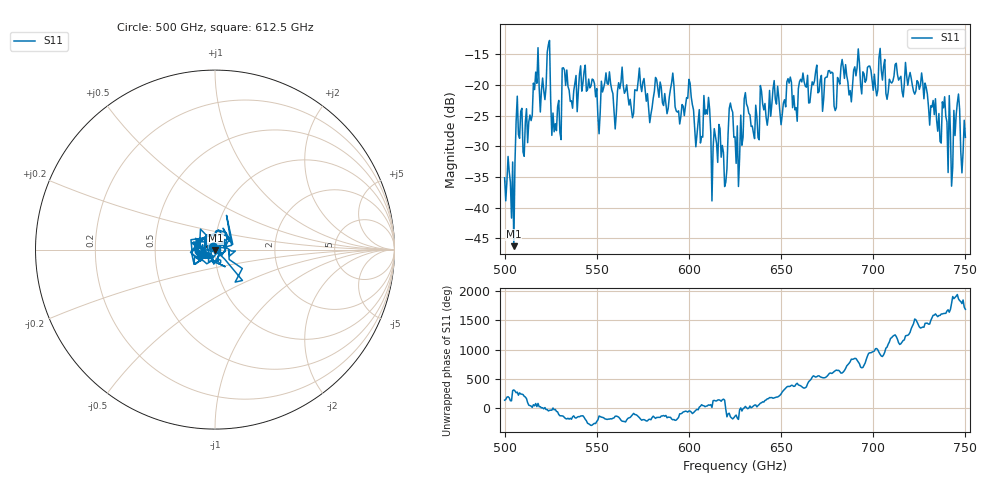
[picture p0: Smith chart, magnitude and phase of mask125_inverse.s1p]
!Created with skrf (http://scikit-rf.org).
# GHz S MA R 50.0
!freq magS11 angS11
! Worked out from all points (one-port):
!   401 points, 500 GHz to 750 GHz, reference 50 ohm
!   lowest |S11| = -46.3 dB at 505 GHz (marker M1), VSWR 1.01, Z = 50.3 - j0.407 ohm
!   |S11| at or under -10 dB: start of sweep to end of sweep
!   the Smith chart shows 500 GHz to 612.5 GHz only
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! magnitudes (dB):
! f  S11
! 500 GHz  -35.1
! 505 GHz  -46.3
! 507.5 GHz  -28.1
! 511.2 GHz  -26.0
! 516.9 GHz  -17.9
! 520.6 GHz  -18.9
! 523.8 GHz  -13.4
! 526.9 GHz  -27.6
! 531.2 GHz  -17.3
! 556.2 GHz  -19.9
! 560 GHz  -27.2
! 562.5 GHz  -20.6
! 579.4 GHz  -24.8
! 590.6 GHz  -19.6
! 593.8 GHz  -24.4
! 609.4 GHz  -24.1
! 619.4 GHz  -36.6
! 622.5 GHz  -23.0
! 625 GHz  -28.4
! 656.2 GHz  -23.7
! 687.5 GHz  -20.9
! 691.2 GHz  -17.2
! 718.8 GHz  -20.1
! 735.6 GHz  -24.7
! 738.8 GHz  -21.9
! 741.9 GHz  -27.7
! 745 GHz  -24.9
! 750 GHz  -28.5
